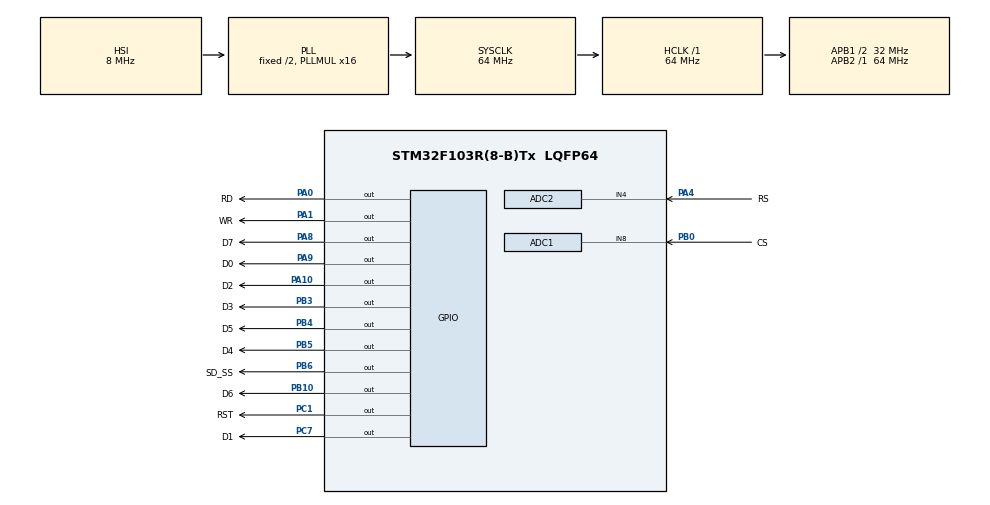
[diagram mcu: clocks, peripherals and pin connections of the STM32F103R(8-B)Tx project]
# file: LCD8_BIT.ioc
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ADC1.Channel-3\#ChannelInjectedConversion=ADC_CHANNEL_8
ADC1.ContinuousConvMode=DISABLE
ADC1.DataAlign=ADC_DATAALIGN_RIGHT
ADC1.DiscontinuousConvMode=DISABLE
ADC1.EnableAnalogWatchDog=false
ADC1.EnableRegularConversion=DISABLE
ADC1.ExternalTrigInjecConv=ADC_INJECTED_SOFTWARE_START
ADC1.InjNumberOfConversion=1
ADC1.InjectedConvMode=None
ADC1.InjectedOffset-3\#ChannelInjectedConversion=0
ADC1.Rank-3\#ChannelInjectedConversion=1
ADC1.SamplingTime-3\#ChannelInjectedConversion=ADC_SAMPLETIME_13CYCLES_5
ADC1.ScanConvMode=ADC_SCAN_DISABLE
ADC1.master=1
ADC2.Channel-9\#ChannelInjectedConversion=ADC_CHANNEL_4
ADC2.EnableRegularConversion=DISABLE
ADC2.InjNumberOfConversion=1
ADC2.InjectedOffset-9\#ChannelInjectedConversion=0
ADC2.Rank-9\#ChannelInjectedConversion=1
ADC2.SamplingTime-9\#ChannelInjectedConversion=ADC_SAMPLETIME_13CYCLES_5
Mcu.Family=STM32F1
Mcu.Name=STM32F103R(8-B)Tx
Mcu.Package=LQFP64
NVIC.PriorityGroup=NVIC_PRIORITYGROUP_4
NVIC.TIM4_IRQn=true\:0\:0\:false\:false\:true\:false
NVIC.TimeBase=TIM4_IRQn
NVIC.TimeBaseIP=TIM4
PA0-WKUP.GPIO_Label=RD
PA0-WKUP.Signal=GPIO_Output
PA1.GPIO_Label=WR
PA1.Signal=GPIO_Output
PA10.GPIO_Label=D2
PA10.GPIO_PuPd=GPIO_PULLUP
PA10.Signal=GPIO_Output
PA13.Mode=Serial_Wire
PA13.Signal=SYS_JTMS-SWDIO
PA14.Mode=Serial_Wire
PA14.Signal=SYS_JTCK-SWCLK
PA4.GPIO_Label=RS
PA4.Signal=ADCx_IN4
PA5.Signal=SPI1_SCK
PA6.Signal=SPI1_MISO
PA7.Signal=SPI1_MOSI
PA8.GPIO_Label=D7
PA8.GPIO_PuPd=GPIO_PULLUP
PA8.Signal=GPIO_Output
PA9.GPIO_Label=D0
PA9.GPIO_PuPd=GPIO_PULLUP
PA9.Signal=GPIO_Output
PB0.GPIO_Label=CS
PB0.Signal=ADCx_IN8
PB10.GPIO_Label=D6
PB10.GPIO_PuPd=GPIO_PULLUP
PB10.Signal=GPIO_Output
PB3.GPIO_Label=D3
PB3.GPIO_PuPd=GPIO_PULLUP
PB3.Signal=GPIO_Output
PB4.GPIO_Label=D5
PB4.GPIO_PuPd=GPIO_PULLUP
PB4.Signal=GPIO_Output
PB5.GPIO_Label=D4
PB5.GPIO_PuPd=GPIO_PULLUP
PB5.Signal=GPIO_Output
PB6.GPIO_Label=SD_SS
PB6.Signal=GPIO_Output
PC1.GPIO_Label=RST
PC1.Signal=GPIO_Output
PC7.GPIO_Label=D1
PC7.GPIO_PuPd=GPIO_PULLUP
PC7.Signal=GPIO_Output
ProjectManager.HeapSize=0x200
ProjectManager.StackSize=0x400
ProjectManager.TargetToolchain=MDK-ARM V5
RCC.ADCPresc=RCC_ADCPCLK2_DIV6
RCC.AHBFreq_Value=64000000
RCC.APB1CLKDivider=RCC_HCLK_DIV2
RCC.APB1Freq_Value=32000000
RCC.APB1TimFreq_Value=64000000
RCC.APB2Freq_Value=64000000
RCC.APB2TimFreq_Value=64000000
RCC.HCLKFreq_Value=64000000
RCC.PLLMUL=RCC_PLL_MUL16
RCC.SYSCLKFreq_VALUE=64000000
RCC.SYSCLKSource=RCC_SYSCLKSOURCE_PLLCLK
RCC.USBFreq_Value=64000000
SH.ADCx_IN4.0=ADC2_IN4,IN4
SH.ADCx_IN8.0=ADC1_IN8,IN8
VP_SYS_VS_tim4.Mode=TIM4
board=custom

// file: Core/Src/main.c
/**
  ******************************************************************************
  * @file           : main.c
  * @brief          : Main program body
  ******************************************************************************
  ** This notice applies to any and all portions of this file
  * that are not between comment pairs USER CODE BEGIN and
  * USER CODE END. Other portions of this file, whether
  * inserted by the user or by software development tools
  * are owned by their respective copyright owners.
  *
  * COPYRIGHT(c) 2019 STMicroelectronics
  *
  * Redistribution and use in source and binary forms, with or without modification,
  * are permitted provided that the following conditions are met:
  *   1. Redistributions of source code must retain the above copyright notice,
  *      this list of conditions and the following disclaimer.
  *   2. Redistributions in binary form must reproduce the above copyright notice,
  *      this list of conditions and the following disclaimer in the documentation
  *      and/or other materials provided with the distribution.
  *   3. Neither the name of STMicroelectronics nor the names of its contributors
  *      may be used to endorse or promote products derived from this software
  *      without specific prior written permission.
  *
  * THIS SOFTWARE IS PROVIDED BY THE COPYRIGHT HOLDERS AND CONTRIBUTORS "AS IS"
  * AND ANY EXPRESS OR IMPLIED WARRANTIES, INCLUDING, BUT NOT LIMITED TO, THE
  * IMPLIED WARRANTIES OF MERCHANTABILITY AND FITNESS FOR A PARTICULAR PURPOSE ARE
  * DISCLAIMED. IN NO EVENT SHALL THE COPYRIGHT HOLDER OR CONTRIBUTORS BE LIABLE
  * FOR ANY DIRECT, INDIRECT, INCIDENTAL, SPECIAL, EXEMPLARY, OR CONSEQUENTIAL
  * DAMAGES (INCLUDING, BUT NOT LIMITED TO, PROCUREMENT OF SUBSTITUTE GOODS OR
  * SERVICES; LOSS OF USE, DATA, OR PROFITS; OR BUSINESS INTERRUPTION) HOWEVER
  * CAUSED AND ON ANY THEORY OF LIABILITY, WHETHER IN CONTRACT, STRICT LIABILITY,
  * OR TORT (INCLUDING NEGLIGENCE OR OTHERWISE) ARISING IN ANY WAY OUT OF THE USE
  * OF THIS SOFTWARE, EVEN IF ADVISED OF THE POSSIBILITY OF SUCH DAMAGE.
  *
  ******************************************************************************
  */
#include "main.h"
#include "stm32f1xx_hal.h"
#include "adc.h"
#include "gpio.h"

/* USER CODE BEGIN Includes */
#include "MCUFRIEND_kbv.h"
#include "GFX_lib.h"

#include "dwt_stm32_delay.h"
#include "glcdfont.c"
#include "TouchScreen.h"
#include <TouchCalibration.h>         //Adafruit Library

/* USER CODE END Includes */

/* USER CODE BEGIN PV */
/* Private variables ---------------------------------------------------------*/
int pixel_x, pixel_y;
#define MINPRESSURE 800
#define MAXPRESSURE 4000
/* USER CODE END PV */

void SystemClock_Config(void);

/* USER CODE BEGIN PFP */
/* Private function prototypes -----------------------------------------------*/

const int TS_LEFT = 3726, TS_RT = 449, TS_TOP = 3823, TS_BOT = 318;
uint16_t seTrgb(uint8_t r, uint8_t g, uint8_t b) { return ((r & 0xF8) << 8) | ((g & 0xFC) << 3) | (b >> 3); }
	long map(long x, long in_min, long in_max, long out_min, long out_max) {
  return (x - in_min) * (out_max - out_min) / (in_max - in_min) + out_min;
}
	uint8_t Touch_getXY(void)
{
    TSPoint p = getPoint();
    Gp_out(YP_PORT,YP_PIN,GPIO_NOPULL);      //restore shared pins
		Gp_out(XM_PORT,XM_PIN,GPIO_NOPULL);      //restore shared pins
    HAL_GPIO_WritePin(YP_PORT,YP_PIN,GPIO_PIN_SET);
		HAL_GPIO_WritePin(XM_PORT,XM_PIN,GPIO_PIN_SET);

    uint8_t pressed = (p.z > MINPRESSURE && p.z < MAXPRESSURE);
    if (pressed) {
        pixel_x = map(p.x, TS_LEFT, TS_RT, 0, width()); //.kbv makes sense to me
        pixel_y = map(p.y, TS_TOP, TS_BOT, 0, height());
    }
    return pressed;
}
/* USER CODE END PFP */

int main(void)
{

  /* MCU Configuration----------------------------------------------------------*/

  /* Reset of all peripherals, Initializes the Flash interface and the Systick. */
  HAL_Init();

  /* Configure the system clock */
  SystemClock_Config();

  /* Initialize all configured peripherals */
  MX_GPIO_Init();
  MX_ADC1_Init();
  MX_ADC2_Init();
  /* USER CODE BEGIN 2 */
	DWT_Delay_Init();
	//reset();
	 //xxx = readID();
	Adafruit_GFX_init(240, 320);
	begin(0x7575);
	setRotation(0);
	fillScreen(setrgb(0,0,0));
	setTextSizeGfx(1);
	setTextColor(setrgb(0,255,0),setrgb(0,0,255));
//Calibrate_Procedure();

	GFX_button x1,x2;
	initButton_new(&x1,60, 200, 100, 40, WHITE, CYAN, BLACK, "ON", 2);
	x1.drawButton(&x1,0);
	initButton_new(&x2,180, 200, 100, 40, WHITE, CYAN, BLACK, "OFF", 2);
	x2.drawButton(&x2,0);
	fillRect(40, 80, 160, 80, RED);
  /* USER CODE END 2 */

  /* Infinite loop */
  /* USER CODE BEGIN WHILE */
  while (1)
  {
		//
		uint8_t down = Touch_getXY();
		drawCircle(pixel_x,pixel_y,4,RED);
    x1.press(&x1,down && x1.contains(&x1,pixel_x, pixel_y));
    x2.press(&x2,down && x2.contains(&x2,pixel_x, pixel_y));
    if (x1.justReleased(&x1))
        x1.drawButton(&x1,0);
    if (x2.justReleased(&x2))
        x2.drawButton(&x2,0);
    if (x1.justPressed(&x1)) {
        x1.drawButton(&x1,1);
        fillRect(40, 80, 160, 80, GREEN);
    }
    if (x2.justPressed(&x2)) {
        x2.drawButton(&x2,1);
        fillRect(40, 80, 160, 80, RED);
    }

  /* USER CODE END WHILE */

  }

}

void SystemClock_Config(void)
{

  RCC_OscInitTypeDef RCC_OscInitStruct;
  RCC_ClkInitTypeDef RCC_ClkInitStruct;
  RCC_PeriphCLKInitTypeDef PeriphClkInit;

    /**Initializes the CPU, AHB and APB busses clocks
    */
  RCC_OscInitStruct.OscillatorType = RCC_OSCILLATORTYPE_HSI;
  RCC_OscInitStruct.HSIState = RCC_HSI_ON;
  RCC_OscInitStruct.HSICalibrationValue = 16;
  RCC_OscInitStruct.PLL.PLLState = RCC_PLL_ON;
  RCC_OscInitStruct.PLL.PLLSource = RCC_PLLSOURCE_HSI_DIV2;
  RCC_OscInitStruct.PLL.PLLMUL = RCC_PLL_MUL16;
  if (HAL_RCC_OscConfig(&RCC_OscInitStruct) != HAL_OK)
  {
    _Error_Handler(__FILE__, __LINE__);
  }

    /**Initializes the CPU, AHB and APB busses clocks
    */
  RCC_ClkInitStruct.ClockType = RCC_CLOCKTYPE_HCLK|RCC_CLOCKTYPE_SYSCLK
                              |RCC_CLOCKTYPE_PCLK1|RCC_CLOCKTYPE_PCLK2;
  RCC_ClkInitStruct.SYSCLKSource = RCC_SYSCLKSOURCE_PLLCLK;
  RCC_ClkInitStruct.AHBCLKDivider = RCC_SYSCLK_DIV1;
  RCC_ClkInitStruct.APB1CLKDivider = RCC_HCLK_DIV2;
  RCC_ClkInitStruct.APB2CLKDivider = RCC_HCLK_DIV1;

  if (HAL_RCC_ClockConfig(&RCC_ClkInitStruct, FLASH_LATENCY_2) != HAL_OK)
  {
    _Error_Handler(__FILE__, __LINE__);
  }

  PeriphClkInit.PeriphClockSelection = RCC_PERIPHCLK_ADC;
  PeriphClkInit.AdcClockSelection = RCC_ADCPCLK2_DIV6;
  if (HAL_RCCEx_PeriphCLKConfig(&PeriphClkInit) != HAL_OK)
  {
    _Error_Handler(__FILE__, __LINE__);
  }

    /**Configure the Systick interrupt time
    */
  HAL_SYSTICK_Config(HAL_RCC_GetHCLKFreq()/1000);

    /**Configure the Systick
    */
  HAL_SYSTICK_CLKSourceConfig(SYSTICK_CLKSOURCE_HCLK);

  /* SysTick_IRQn interrupt configuration */
  HAL_NVIC_SetPriority(SysTick_IRQn, 0, 0);
}

void HAL_TIM_PeriodElapsedCallback(TIM_HandleTypeDef *htim)
{
  if (htim->Instance == TIM4) {
    HAL_IncTick();
  }
}

void _Error_Handler(char *file, int line)
{
  while(1)
  {
  }
}

/************************ (C) COPYRIGHT STMicroelectronics *****END OF FILE****/
